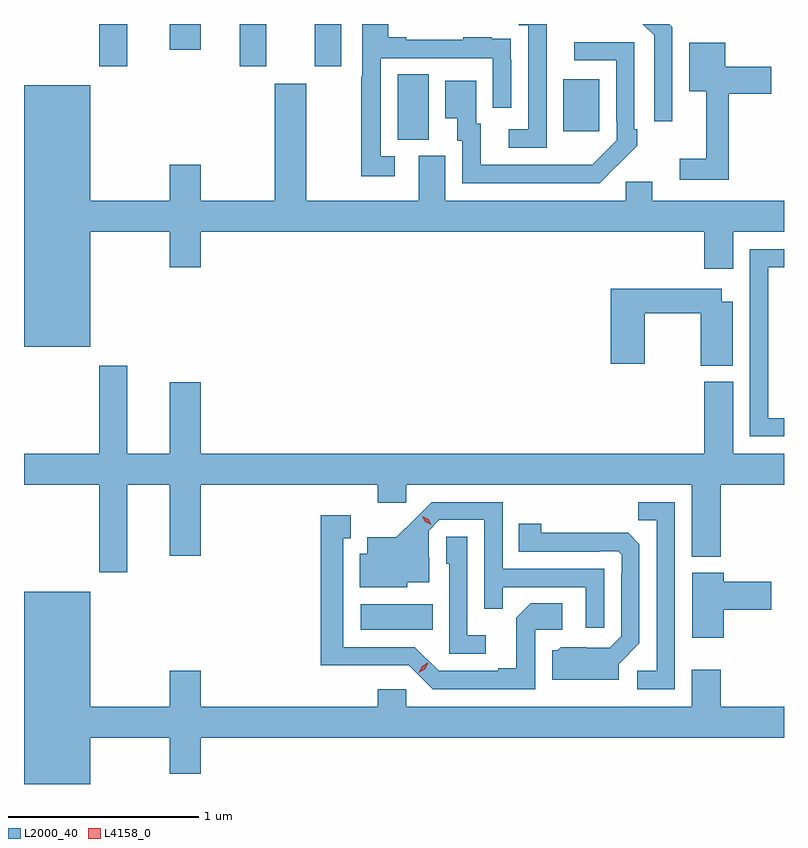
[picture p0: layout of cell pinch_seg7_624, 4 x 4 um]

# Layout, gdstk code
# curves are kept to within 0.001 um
import gdstk
lib = gdstk.Library(unit=1e-6, precision=1e-09)
def R(c, l, rs):  # rectangles x0, y0, x1, y1
    for r in rs: c.add(gdstk.rectangle(r[:2], r[2:], *l))
def P(c, l, *ps):  # polygons
    for p in ps: c.add(gdstk.Polygon(p, *l))
L2000_40 = (2000, 40)
L4158_0 = (4158, 0)

pinch_seg7_624 = lib.new_cell('pinch_seg7_624')
R(pinch_seg7_624, L2000_40, [(112.956,1019.834,113.336,1019.968), (113.15,1022.413,113.314,1022.756), (114.023,1022.457,114.211,1022.731), (111.58,1022.799,111.727,1023.021), (112.319,1022.799,112.459,1023.021), (112.715,1022.799,112.855,1023.021), (111.95,1022.886,112.114,1023.021)])
P(pinch_seg7_624, L2000_40, [(114.597,1023.003),(114.579,1023.021),(114.441,1023.021),(114.501,1022.961),(114.501,1022.508),(114.597,1022.508)],
  [(113.934,1022.827),(113.935,1022.827),(113.935,1023.021),(113.787,1023.021),(113.787,1023.014),(113.838,1023.014),(113.838,1022.466),(113.736,1022.466),(113.736,1022.37),(113.934,1022.37)],
  [(113.134,1022.325),(113.061,1022.325),(113.061,1022.841),(113.652,1022.841),(113.652,1022.58),(113.748,1022.58),(113.748,1022.834),(113.747,1022.834),(113.747,1022.943),(113.645,1022.943),(113.645,1022.95),(113.497,1022.95),(113.497,1022.937),(113.197,1022.937),(113.197,1022.95),(113.101,1022.95),(113.101,1023.021),(112.965,1023.021),(112.965,1022.744),(112.96,1022.744),(112.96,1022.22),(113.134,1022.22)],
  [(114.305,1022.275),(114.306,1022.274),(114.411,1022.379),(114.411,1022.467),(114.396,1022.467),(114.396,1022.925),(114.081,1022.925),(114.081,1022.829),(114.3,1022.829),(114.3,1022.509),(114.303,1022.509),(114.303,1022.409),(114.175,1022.281),(113.587,1022.28),(113.587,1022.496),(113.563,1022.496),(113.563,1022.722),(113.402,1022.722),(113.402,1022.525),(113.465,1022.525),(113.465,1022.406),(113.49,1022.406),(113.49,1022.184),(114.214,1022.184)],
  [(114.893,1022.654),(115.117,1022.654),(115.117,1022.796),(114.874,1022.796),(114.874,1022.923),(114.686,1022.923),(114.686,1022.666),(114.776,1022.666),(114.776,1022.311),(114.636,1022.311),(114.636,1022.202),(114.893,1022.202)],
  [(111.532,1021.928),(111.95,1021.928),(111.95,1021.74),(112.114,1021.74),(112.114,1021.928),(114.764,1021.928),(114.764,1021.734),(114.916,1021.734),(114.916,1021.928),(115.184,1021.928),(115.184,1022.092),(114.49,1022.092),(114.49,1022.19),(114.351,1022.19),(114.351,1022.092),(113.401,1022.092),(113.401,1022.328),(113.261,1022.328),(113.261,1022.092),(112.669,1022.092),(112.669,1022.707),(112.505,1022.707),(112.505,1022.092),(112.114,1022.092),(112.114,1022.281),(111.95,1022.281),(111.95,1022.092),(111.532,1022.092),(111.532,1022.698),(111.184,1022.698),(111.184,1021.322),(111.532,1021.322)],
  [(115.184,1020.947),(115.101,1020.947),(115.101,1021.74),(115.184,1021.74),(115.184,1021.836),(115.005,1021.836),(115.005,1020.852),(115.184,1020.852)],
  [(114.913,1021.558),(114.856,1021.558),(114.856,1021.627),(114.272,1021.627),(114.272,1021.233),(114.45,1021.233),(114.45,1021.498),(114.746,1021.498),(114.746,1021.223),(114.913,1021.223)],
  [(111.727,1020.596),(111.95,1020.596),(111.95,1020.222),(112.114,1020.222),(112.114,1020.596),(113.045,1020.596),(113.045,1020.501),(113.196,1020.501),(113.196,1020.596),(114.698,1020.596),(114.698,1020.218),(114.851,1020.218),(114.851,1020.596),(115.184,1020.596),(115.184,1020.76),(114.916,1020.76),(114.916,1021.138),(114.764,1021.138),(114.764,1020.76),(112.114,1020.76),(112.114,1021.135),(111.95,1021.135),(111.95,1020.76),(111.727,1020.76),(111.727,1021.222),(111.58,1021.222),(111.58,1020.76),(111.184,1020.76),(111.184,1020.596),(111.58,1020.596),(111.58,1020.135),(111.727,1020.135)],
  [(114.609,1020.504),(114.418,1020.504),(114.418,1020.409),(114.513,1020.409),(114.513,1019.616),(114.411,1019.616),(114.411,1019.52),(114.609,1019.52)],
  [(114.237,1020.153),(113.703,1020.153),(113.703,1020.504),(113.33,1020.504),(113.143,1020.319),(112.991,1020.319),(112.991,1020.232),(112.952,1020.232),(112.952,1020.056),(113.202,1020.056),(113.202,1020.083),(113.317,1020.083),(113.317,1020.212),(113.313,1020.212),(113.313,1020.354),(113.37,1020.411),(113.607,1020.411),(113.607,1019.944),(113.705,1019.944),(113.705,1020.057),(114.141,1020.057),(114.141,1019.844),(114.237,1019.844)],
  [(113.874,1019.832),(114.016,1019.832),(114.016,1019.972),(113.851,1019.972),(113.775,1019.896),(113.775,1019.629),(113.681,1019.629),(113.681,1019.616),(113.367,1019.616),(113.241,1019.742),(112.864,1019.742),(112.864,1020.315),(112.903,1020.315),(112.903,1020.436),(112.746,1020.436),(112.746,1019.645),(113.208,1019.646),(113.334,1019.52),(113.874,1019.52)],
  [(114.313,1019.652),(114.423,1019.762),(114.423,1020.284),(114.364,1020.343),(113.907,1020.344),(113.907,1020.391),(113.788,1020.391),(113.788,1020.243),(114.212,1020.243),(114.212,1020.246),(114.312,1020.246),(114.33,1020.228),(114.33,1020.128),(114.327,1020.128),(114.327,1019.799),(114.267,1019.739),(114.01,1019.74),(113.994,1019.724),(113.963,1019.724),(113.963,1019.57),(114.313,1019.57)],
  [(113.614,1019.803),(113.517,1019.803),(113.517,1020.323),(113.406,1020.323),(113.406,1020.18),(113.421,1020.18),(113.421,1019.706),(113.614,1019.706)],
  [(114.868,1019.939),(115.117,1019.939),(115.117,1020.086),(114.868,1020.086),(114.868,1020.133),(114.701,1020.133),(114.701,1019.79),(114.868,1019.79)],
  [(111.532,1019.264),(111.95,1019.264),(111.95,1019.076),(112.114,1019.076),(112.114,1019.264),(115.184,1019.264),(115.184,1019.428),(114.851,1019.428),(114.851,1019.623),(114.698,1019.623),(114.698,1019.428),(113.196,1019.428),(113.196,1019.521),(113.045,1019.521),(113.045,1019.428),(112.114,1019.428),(112.114,1019.617),(111.95,1019.617),(111.95,1019.428),(111.532,1019.428),(111.532,1020.034),(111.184,1020.034),(111.184,1019.021),(111.532,1019.021)])
P(pinch_seg7_624, L4158_0, [(113.327,1020.385),(113.297,1020.401),(113.281,1020.431),(113.281,1020.431),(113.281,1020.431),(113.311,1020.415),(113.328,1020.386),(113.328,1020.385)],
  [(113.262,1019.606),(113.262,1019.607),(113.279,1019.64),(113.31,1019.659),(113.311,1019.659),(113.311,1019.659),(113.294,1019.626),(113.262,1019.606)])

lib.write_gds('pinch_seg7_624.gds')
